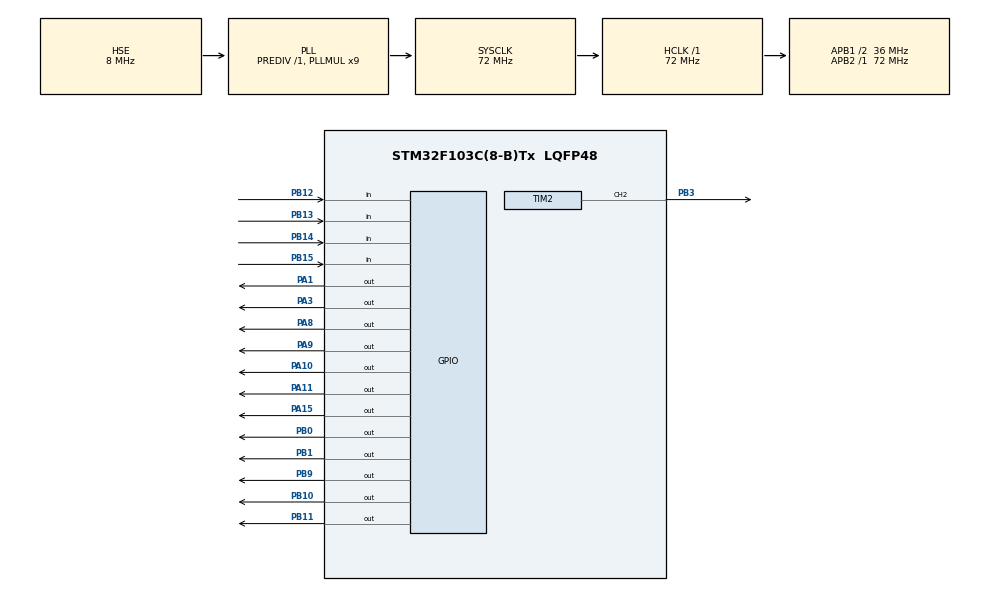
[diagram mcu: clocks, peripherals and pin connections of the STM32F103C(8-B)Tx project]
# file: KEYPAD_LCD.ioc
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Mcu.Family=STM32F1
Mcu.Name=STM32F103C(8-B)Tx
Mcu.Package=LQFP48
NVIC.PriorityGroup=NVIC_PRIORITYGROUP_4
PA1.Signal=GPIO_Output
PA10.Signal=GPIO_Output
PA11.Signal=GPIO_Output
PA13.Mode=Serial_Wire
PA13.Signal=SYS_JTMS-SWDIO
PA14.Mode=Serial_Wire
PA14.Signal=SYS_JTCK-SWCLK
PA15.GPIO_PuPd=GPIO_NOPULL
PA15.Signal=GPIO_Output
PA3.Signal=GPIO_Output
PA8.Signal=GPIO_Output
PA9.Signal=GPIO_Output
PB0.Signal=GPIO_Output
PB1.Signal=GPIO_Output
PB10.Signal=GPIO_Output
PB11.Signal=GPIO_Output
PB12.Signal=GPIO_Input
PB13.Signal=GPIO_Input
PB14.Signal=GPIO_Input
PB15.Signal=GPIO_Input
PB3.Signal=S_TIM2_CH2
PB9.Signal=GPIO_Output
PD0-OSC_IN.Mode=HSE-External-Oscillator
PD0-OSC_IN.Signal=RCC_OSC_IN
PD1-OSC_OUT.Mode=HSE-External-Oscillator
PD1-OSC_OUT.Signal=RCC_OSC_OUT
ProjectManager.HeapSize=0x200
ProjectManager.StackSize=0x400
ProjectManager.TargetToolchain=MDK-ARM V5.32
RCC.AHBFreq_Value=72000000
RCC.APB1CLKDivider=RCC_HCLK_DIV2
RCC.APB1Freq_Value=36000000
RCC.APB1TimFreq_Value=72000000
RCC.APB2Freq_Value=72000000
RCC.APB2TimFreq_Value=72000000
RCC.HCLKFreq_Value=72000000
RCC.PLLMUL=RCC_PLL_MUL9
RCC.PLLSourceVirtual=RCC_PLLSOURCE_HSE
RCC.SYSCLKFreq_VALUE=72000000
RCC.SYSCLKSource=RCC_SYSCLKSOURCE_PLLCLK
RCC.USBFreq_Value=72000000
SH.S_TIM2_CH2.0=TIM2_CH2,PWM Generation2 CH2
TIM2.Channel-PWM\ Generation2\ CH2=TIM_CHANNEL_2
TIM2.Period=9999
TIM2.Prescaler=144
VP_TIM2_VS_ClockSourceINT.Mode=Internal
board=custom

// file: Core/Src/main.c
/* USER CODE BEGIN Header */
/**
  ******************************************************************************
  * @file           : main.c
  * @brief          : Main program body
  ******************************************************************************
  * @attention
  *
  * Copyright (c) 2023 STMicroelectronics.
  * All rights reserved.
  *
  * This software is licensed under terms that can be found in the LICENSE file
  * in the root directory of this software component.
  * If no LICENSE file comes with this software, it is provided AS-IS.
  *
  ******************************************************************************
  */
/* USER CODE END Header */
#include "main.h"

/* USER CODE BEGIN Includes */
#include "i2c-lcd.h"
#include "string.h"
/* USER CODE END Includes */

/* USER CODE BEGIN PM */
#define NUMBER_PASSWORD 6
#define HIGH 1
#define LOW 0
#define COUNTER_DELAY 200
#define FLASH_ADDRESS_PAGE31 0x08007C00
#define FLASH_ADDRESS_PAGE127	0x0801FC00
/* USER CODE END PM */

TIM_HandleTypeDef htim2;

/* USER CODE BEGIN PV */
char check;
static uint8_t i = 0;
static char PASSWORD[NUMBER_PASSWORD] = {'1', '2', '3', '4', '5', '6'};
static char CURR_PASSWORD[NUMBER_PASSWORD] = {0, 0, 0, 0, 0, 0};
uint8_t TEST[NUMBER_PASSWORD] = {1,2,3,4,5,6};
/* USER CODE END PV */

void SystemClock_Config(void);
static void MX_GPIO_Init(void);
static void MX_TIM2_Init(void);

/* USER CODE BEGIN 0 */

char CHECK_COL()
{
	// =============== ROW 1 ==============
	HAL_GPIO_WritePin(GPIOA, GPIO_PIN_8, HIGH);
	HAL_GPIO_WritePin(GPIOA, GPIO_PIN_9, LOW);
	HAL_GPIO_WritePin(GPIOA, GPIO_PIN_10, LOW);
	HAL_GPIO_WritePin(GPIOA, GPIO_PIN_11, LOW);
	//HAL_Delay(100);
	if(HAL_GPIO_ReadPin(GPIOB, GPIO_PIN_15))
	{
		while(HAL_GPIO_ReadPin(GPIOB, GPIO_PIN_15));
		return 'A';
	}

		if(HAL_GPIO_ReadPin(GPIOB, GPIO_PIN_14))
	{
		while(HAL_GPIO_ReadPin(GPIOB, GPIO_PIN_14));
		return '3';
	}

		if(HAL_GPIO_ReadPin(GPIOB, GPIO_PIN_13))
	{
		while(HAL_GPIO_ReadPin(GPIOB, GPIO_PIN_13));
		return '2';
	}

		if(HAL_GPIO_ReadPin(GPIOB, GPIO_PIN_12))
	{
		while(HAL_GPIO_ReadPin(GPIOB, GPIO_PIN_12));
		return '1';
	}
	// =============== ROW 2 ==============
	HAL_GPIO_WritePin(GPIOA, GPIO_PIN_8, LOW);
	HAL_GPIO_WritePin(GPIOA, GPIO_PIN_9, HIGH);
	HAL_GPIO_WritePin(GPIOA, GPIO_PIN_10, LOW);
	HAL_GPIO_WritePin(GPIOA, GPIO_PIN_11, LOW);
	//HAL_Delay(100);
	if(HAL_GPIO_ReadPin(GPIOB, GPIO_PIN_15))
	{
		while(HAL_GPIO_ReadPin(GPIOB, GPIO_PIN_15));
		return 'B';
	}

		if(HAL_GPIO_ReadPin(GPIOB, GPIO_PIN_14))
	{
		while(HAL_GPIO_ReadPin(GPIOB, GPIO_PIN_14));
		return '6';
	}

		if(HAL_GPIO_ReadPin(GPIOB, GPIO_PIN_13))
	{
		while(HAL_GPIO_ReadPin(GPIOB, GPIO_PIN_13));
		return '5';
	}

		if(HAL_GPIO_ReadPin(GPIOB, GPIO_PIN_12))
	{
		while(HAL_GPIO_ReadPin(GPIOB, GPIO_PIN_12));
		return '4';
	}
	// =============== ROW 3 ==============
	HAL_GPIO_WritePin(GPIOA, GPIO_PIN_8, LOW);
	HAL_GPIO_WritePin(GPIOA, GPIO_PIN_9, LOW);
	HAL_GPIO_WritePin(GPIOA, GPIO_PIN_10, HIGH);
	HAL_GPIO_WritePin(GPIOA, GPIO_PIN_11, LOW);
	//HAL_Delay(100);
	if(HAL_GPIO_ReadPin(GPIOB, GPIO_PIN_15))
	{
		while(HAL_GPIO_ReadPin(GPIOB, GPIO_PIN_15));
		return 'C';
	}

	if(HAL_GPIO_ReadPin(GPIOB, GPIO_PIN_14))
	{
		while(HAL_GPIO_ReadPin(GPIOB, GPIO_PIN_14));
		return '9';
	}

	if(HAL_GPIO_ReadPin(GPIOB, GPIO_PIN_13))
	{
		while(HAL_GPIO_ReadPin(GPIOB, GPIO_PIN_13));
		return '8';
	}

	if(HAL_GPIO_ReadPin(GPIOB, GPIO_PIN_12))
	{
		while(HAL_GPIO_ReadPin(GPIOB, GPIO_PIN_12));
		return '7';
	}
	// =============== ROW 4 ==============
	HAL_GPIO_WritePin(GPIOA, GPIO_PIN_8, LOW);
	HAL_GPIO_WritePin(GPIOA, GPIO_PIN_9, LOW);
	HAL_GPIO_WritePin(GPIOA, GPIO_PIN_10, LOW);
	HAL_GPIO_WritePin(GPIOA, GPIO_PIN_11, HIGH);
	//HAL_Delay(100);
	if(HAL_GPIO_ReadPin(GPIOB, GPIO_PIN_15))
	{
		while(HAL_GPIO_ReadPin(GPIOB, GPIO_PIN_15));
		return 'D';
	}

		if(HAL_GPIO_ReadPin(GPIOB, GPIO_PIN_14))
	{
		while(HAL_GPIO_ReadPin(GPIOB, GPIO_PIN_14));
		return '#';
	}

		if(HAL_GPIO_ReadPin(GPIOB, GPIO_PIN_13))
	{
		while(HAL_GPIO_ReadPin(GPIOB, GPIO_PIN_13));
		return '0';
	}

		if(HAL_GPIO_ReadPin(GPIOB, GPIO_PIN_12))
	{
		while(HAL_GPIO_ReadPin(GPIOB, GPIO_PIN_12));
		return '*';
	}
	return 0;
}

void FLASH_ERASE(uint32_t Address)
{
	HAL_FLASH_Unlock();
	FLASH_EraseInitTypeDef EraseInit;
	EraseInit.TypeErase	= FLASH_TYPEERASE_PAGES;
	EraseInit.PageAddress = Address;
	EraseInit.NbPages = 1;
	EraseInit.Banks = 1;
	uint32_t PageError = 0;
	HAL_FLASHEx_Erase(&EraseInit, &PageError);
	HAL_FLASH_Lock();
}
uint8_t FLASH_WRITE_DATA(uint32_t Address, char *arr, uint16_t len)
{
	HAL_FLASH_Unlock();
	uint8_t *pt = (uint8_t*)arr;
	for(uint8_t n = 0; n < len ; n++){
		if((HAL_FLASH_Program(FLASH_TYPEPROGRAM_HALFWORD, Address + 2*n, *pt++)) != HAL_OK)
		{
			return HAL_ERROR;
		}
	}
	HAL_FLASH_Lock();
	return 0;
}

uint32_t FLASH_READ_DATA(uint32_t address){
    return *(uint8_t*)address;
}

void DEL(Lcd_HandleTypeDef lcd)
{
	if(i > 0)
	{
		i--;
		CURR_PASSWORD[i] = '\0';
		Lcd_cursor(&lcd, 1,i);
		Lcd_string(&lcd, " ");
	}
	else if(i == 0)
	{
		i = 0;
		CURR_PASSWORD[i] = '\0';
		Lcd_cursor(&lcd, 1,i);
		Lcd_string(&lcd, " ");
	}
}

//Prescaler: F clock/ F wanna generate -> / counter period + 1
void SG90()
{
	for(int t=250 ;t<1250;t+=50)
	{
		__HAL_TIM_SetCompare(&htim2,TIM_CHANNEL_2,t);
		HAL_Delay(3);
	}
		HAL_Delay(1000);
		for(int u=1250 ;u>250;u-=50)
		{
			__HAL_TIM_SetCompare(&htim2,TIM_CHANNEL_2,u);
			HAL_Delay(3);
		}
}

uint8_t CHECK_PASSWORD(char CURRENT[])
{
	char TEMP[6];
	uint32_t CHECK;
	i = 0;

	CHECK = FLASH_READ_DATA(FLASH_ADDRESS_PAGE31);
	for(uint8_t t = 0; t < NUMBER_PASSWORD; t++)
	{
		if(CHECK == 0xFF)
		{
			TEMP[t] = PASSWORD[t];
		}
		else
		{
			TEMP[t] = FLASH_READ_DATA(FLASH_ADDRESS_PAGE31 + 2*t);
		}
	}

	uint8_t flag = 0;
	for(uint8_t temp = 0; temp < NUMBER_PASSWORD; temp++)
	{
		if(CURRENT[temp] == TEMP[temp])
		{
			flag++;
		}
	}
	if(flag == NUMBER_PASSWORD)
	{
		return 1;
	}
	else
	{
		return 0;
	}
}

void ENTER_PASSWORD(Lcd_HandleTypeDef lcd)
{

	uint8_t flag = CHECK_PASSWORD(CURR_PASSWORD);
	if(flag == 1)
	{
		Lcd_clear(&lcd);
		Lcd_cursor(&lcd, 0,0);
		Lcd_string(&lcd, "THE DOOR OPENED");
		HAL_Delay(1000);
		i = 0;
		SG90();
		//Delete password
		for(uint8_t o=0 ;o<6;o++)
		{
			CURR_PASSWORD[o] = '0';
		}
	}
	else
	{
		Lcd_clear(&lcd);
		Lcd_cursor(&lcd, 0,0);
		Lcd_string(&lcd, "WRONG PASSWORD");
		i = 0;
		HAL_GPIO_WritePin(GPIOA, GPIO_PIN_15, 1);
		HAL_Delay(300);
		HAL_GPIO_WritePin(GPIOA, GPIO_PIN_15, 0);
		HAL_Delay(500);
	}
}

void CHANGE_PASSWORD(Lcd_HandleTypeDef lcd)
{
	char TEMP_PASSWORD[NUMBER_PASSWORD];
	uint8_t flag = 0;
	uint8_t temp;
	i = 0;
	Lcd_clear(&lcd);
	do
	{
		Lcd_cursor(&lcd, 0,0);
		Lcd_string(&lcd, "Current password:");
		check = CHECK_COL();
		if(check == 'A') DEL(lcd);
		if(check == 'B'){	Lcd_clear(&lcd);	break;}
		if(i < 6 && check != 0 && check != 'B' && check != 'A' && check != 'C')
		{
			Lcd_cursor(&lcd, 1,i);
			Lcd_string(&lcd, &check);
			TEMP_PASSWORD[i] = check;
			i++;
		}
		if(check == 'D')
		{
			temp = CHECK_PASSWORD(TEMP_PASSWORD);
			if(temp == 1)
			{
				i = 0;
				Lcd_clear(&lcd);
				do
				{
					Lcd_cursor(&lcd, 0,0);
					Lcd_string(&lcd, "New password:");
					check = CHECK_COL();
					if(check == 'A') DEL(lcd);
					if(check == 'B'){	Lcd_clear(&lcd);	break;}
					if(i < NUMBER_PASSWORD && check != 0 && check != 'B' && check != 'A' && check != 'C' && check != 'D')
					{
						Lcd_cursor(&lcd, 1,i);
						Lcd_string(&lcd, &check);
						TEMP_PASSWORD[i] = check;
						i++;
					}
					if(check == 'D' && i == NUMBER_PASSWORD)
					{
						HAL_FLASH_Unlock();
						for(uint8_t j = 0; j < NUMBER_PASSWORD; j++)
						{
							PASSWORD[j] = TEMP_PASSWORD[j];
						}
						FLASH_ERASE(FLASH_ADDRESS_PAGE31);
						FLASH_WRITE_DATA(FLASH_ADDRESS_PAGE31, PASSWORD, NUMBER_PASSWORD);
						flag = 1;
						HAL_FLASH_Lock();
						Lcd_clear(&lcd);
					}
				}while(!flag);

			}
			else
			{
				Lcd_clear(&lcd);
				Lcd_cursor(&lcd, 0,0);
				Lcd_string(&lcd, "WRONG PASSWORD");
				i = 0;
				HAL_Delay(800);
			}
		}

//		if(check == 'D')	flag = 2;
	}while(!flag);
}
/* USER CODE END 0 */

int main(void)
{

  /* MCU Configuration--------------------------------------------------------*/

  /* Reset of all peripherals, Initializes the Flash interface and the Systick. */
  HAL_Init();

  /* Configure the system clock */
  SystemClock_Config();

  /* Initialize all configured peripherals */
  MX_GPIO_Init();
  MX_TIM2_Init();
  /* USER CODE BEGIN 2 */

	HAL_TIM_PWM_Start(&htim2,TIM_CHANNEL_2);

  Lcd_PortType ports[] = { GPIOB, GPIOB, GPIOB, GPIOB };
  // Lcd_PinType pins[] = {D4_Pin, D5_Pin, D6_Pin, D7_Pin};
  Lcd_PinType pins[] = {GPIO_PIN_0, GPIO_PIN_1, GPIO_PIN_10, GPIO_PIN_11};
  Lcd_HandleTypeDef lcd;
  // Lcd_create(ports, pins, RS_GPIO_Port, RS_Pin, EN_GPIO_Port, EN_Pin, LCD_4_BIT_MODE);
  lcd = Lcd_create(ports, pins, GPIOA, GPIO_PIN_1, GPIOA, GPIO_PIN_3, LCD_4_BIT_MODE);
//	uint8_t CHECK;
//	FLASH_ERASE(FLASH_ADDRESS_PAGE31);
//	FLASH_WRITE_DATA(FLASH_ADDRESS_PAGE31,PASSWORD,NUMBER_PASSWORD);
//	CHECK = FLASH_READ_DATA(FLASH_ADDRESS_PAGE31);

	Lcd_cursor(&lcd, 0,1);
	Lcd_string(&lcd, "Welcome Home!!");
	HAL_Delay(1000);
	Lcd_clear(&lcd);

  /* USER CODE END 2 */

  /* Infinite loop */
  while (1)
  {

    /* USER CODE BEGIN 3 */
		Lcd_cursor(&lcd, 0,0);
		Lcd_string(&lcd, "Enter password:");

		check = CHECK_COL();
		if(check != 0)
		{
			HAL_Delay(50);
			if(check != 0)
			{
					//Delete
					if(check == 'A')
					{
						DEL(lcd);
					}

					//Change password
					else if(check == 'C')
					{

						CHANGE_PASSWORD(lcd);
						i = 0;
					}

					//Enter password
					else if(check == 'D')
					{
						ENTER_PASSWORD(lcd);
					}

					else
					{
						if(i <= 5 && check != 'B')
						{
							Lcd_cursor(&lcd, 1,i);
							CURR_PASSWORD[i] = check;
							Lcd_string(&lcd, &check);

							HAL_Delay(100);
							Lcd_cursor(&lcd, 1,i);
							Lcd_string(&lcd, "*");
							i++;
						}
					}
			}
		}
  }
  /* USER CODE END 3 */
}

void SystemClock_Config(void)
{
  RCC_OscInitTypeDef RCC_OscInitStruct = {0};
  RCC_ClkInitTypeDef RCC_ClkInitStruct = {0};

  /** Initializes the RCC Oscillators according to the specified parameters
  * in the RCC_OscInitTypeDef structure.
  */
  RCC_OscInitStruct.OscillatorType = RCC_OSCILLATORTYPE_HSE;
  RCC_OscInitStruct.HSEState = RCC_HSE_ON;
  RCC_OscInitStruct.HSEPredivValue = RCC_HSE_PREDIV_DIV1;
  RCC_OscInitStruct.HSIState = RCC_HSI_ON;
  RCC_OscInitStruct.PLL.PLLState = RCC_PLL_ON;
  RCC_OscInitStruct.PLL.PLLSource = RCC_PLLSOURCE_HSE;
  RCC_OscInitStruct.PLL.PLLMUL = RCC_PLL_MUL9;
  if (HAL_RCC_OscConfig(&RCC_OscInitStruct) != HAL_OK)
  {
    Error_Handler();
  }

  /** Initializes the CPU, AHB and APB buses clocks
  */
  RCC_ClkInitStruct.ClockType = RCC_CLOCKTYPE_HCLK|RCC_CLOCKTYPE_SYSCLK
                              |RCC_CLOCKTYPE_PCLK1|RCC_CLOCKTYPE_PCLK2;
  RCC_ClkInitStruct.SYSCLKSource = RCC_SYSCLKSOURCE_PLLCLK;
  RCC_ClkInitStruct.AHBCLKDivider = RCC_SYSCLK_DIV1;
  RCC_ClkInitStruct.APB1CLKDivider = RCC_HCLK_DIV2;
  RCC_ClkInitStruct.APB2CLKDivider = RCC_HCLK_DIV1;

  if (HAL_RCC_ClockConfig(&RCC_ClkInitStruct, FLASH_LATENCY_2) != HAL_OK)
  {
    Error_Handler();
  }
}

static void MX_TIM2_Init(void)
{

  TIM_ClockConfigTypeDef sClockSourceConfig = {0};
  TIM_MasterConfigTypeDef sMasterConfig = {0};
  TIM_OC_InitTypeDef sConfigOC = {0};

  htim2.Instance = TIM2;
  htim2.Init.Prescaler = 144;
  htim2.Init.CounterMode = TIM_COUNTERMODE_UP;
  htim2.Init.Period = 9999;
  htim2.Init.ClockDivision = TIM_CLOCKDIVISION_DIV1;
  htim2.Init.AutoReloadPreload = TIM_AUTORELOAD_PRELOAD_DISABLE;
  if (HAL_TIM_Base_Init(&htim2) != HAL_OK)
  {
    Error_Handler();
  }
  sClockSourceConfig.ClockSource = TIM_CLOCKSOURCE_INTERNAL;
  if (HAL_TIM_ConfigClockSource(&htim2, &sClockSourceConfig) != HAL_OK)
  {
    Error_Handler();
  }
  if (HAL_TIM_PWM_Init(&htim2) != HAL_OK)
  {
    Error_Handler();
  }
  sMasterConfig.MasterOutputTrigger = TIM_TRGO_RESET;
  sMasterConfig.MasterSlaveMode = TIM_MASTERSLAVEMODE_DISABLE;
  if (HAL_TIMEx_MasterConfigSynchronization(&htim2, &sMasterConfig) != HAL_OK)
  {
    Error_Handler();
  }
  sConfigOC.OCMode = TIM_OCMODE_PWM1;
  sConfigOC.Pulse = 0;
  sConfigOC.OCPolarity = TIM_OCPOLARITY_HIGH;
  sConfigOC.OCFastMode = TIM_OCFAST_DISABLE;
  if (HAL_TIM_PWM_ConfigChannel(&htim2, &sConfigOC, TIM_CHANNEL_2) != HAL_OK)
  {
    Error_Handler();
  }
  HAL_TIM_MspPostInit(&htim2);

}

static void MX_GPIO_Init(void)
{
  GPIO_InitTypeDef GPIO_InitStruct = {0};

  /* GPIO Ports Clock Enable */
  __HAL_RCC_GPIOD_CLK_ENABLE();
  __HAL_RCC_GPIOA_CLK_ENABLE();
  __HAL_RCC_GPIOB_CLK_ENABLE();

  /*Configure GPIO pin Output Level */
  HAL_GPIO_WritePin(GPIOA, GPIO_PIN_1|GPIO_PIN_3|GPIO_PIN_8|GPIO_PIN_9
                          |GPIO_PIN_10|GPIO_PIN_11|GPIO_PIN_15, GPIO_PIN_RESET);

  /*Configure GPIO pin Output Level */
  HAL_GPIO_WritePin(GPIOB, GPIO_PIN_0|GPIO_PIN_1|GPIO_PIN_10|GPIO_PIN_11
                          |GPIO_PIN_9, GPIO_PIN_RESET);

  /*Configure GPIO pins : PA1 PA3 PA8 PA9
                           PA10 PA11 PA15 */
  GPIO_InitStruct.Pin = GPIO_PIN_1|GPIO_PIN_3|GPIO_PIN_8|GPIO_PIN_9
                          |GPIO_PIN_10|GPIO_PIN_11|GPIO_PIN_15;
  GPIO_InitStruct.Mode = GPIO_MODE_OUTPUT_PP;
  GPIO_InitStruct.Pull = GPIO_NOPULL;
  GPIO_InitStruct.Speed = GPIO_SPEED_FREQ_LOW;
  HAL_GPIO_Init(GPIOA, &GPIO_InitStruct);

  /*Configure GPIO pins : PB0 PB1 PB10 PB11
                           PB9 */
  GPIO_InitStruct.Pin = GPIO_PIN_0|GPIO_PIN_1|GPIO_PIN_10|GPIO_PIN_11
                          |GPIO_PIN_9;
  GPIO_InitStruct.Mode = GPIO_MODE_OUTPUT_PP;
  GPIO_InitStruct.Pull = GPIO_NOPULL;
  GPIO_InitStruct.Speed = GPIO_SPEED_FREQ_LOW;
  HAL_GPIO_Init(GPIOB, &GPIO_InitStruct);

  /*Configure GPIO pins : PB12 PB13 PB14 PB15 */
  GPIO_InitStruct.Pin = GPIO_PIN_12|GPIO_PIN_13|GPIO_PIN_14|GPIO_PIN_15;
  GPIO_InitStruct.Mode = GPIO_MODE_INPUT;
  GPIO_InitStruct.Pull = GPIO_NOPULL;
  HAL_GPIO_Init(GPIOB, &GPIO_InitStruct);

}

void Error_Handler(void)
{
  __disable_irq();
  while (1)
  {
  }
}
